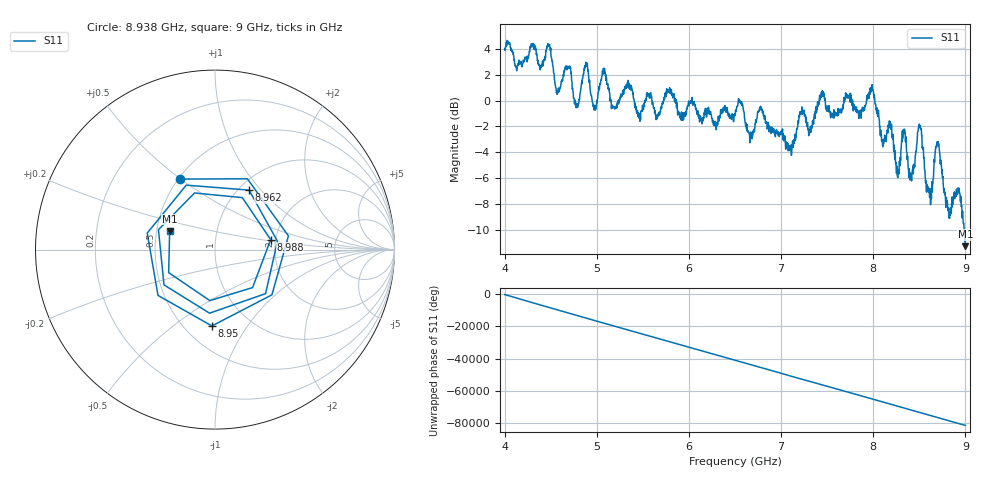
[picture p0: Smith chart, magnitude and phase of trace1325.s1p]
! Created with skrf 1.8.0 (http://scikit-rf.org).
# Hz S RI R 50.0
!freq ReS11 ImS11
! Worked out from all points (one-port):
!   1601 points, 4 GHz to 9 GHz, reference 50 ohm
!   lowest |S11| = -11.3 dB at 9 GHz (marker M1), VSWR 1.75, Z = 29.3 + j6.56 ohm
!   |S11| at or under -10 dB: 8.987595 GHz to end of sweep
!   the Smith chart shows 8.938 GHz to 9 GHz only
!   S11 on the Smith chart (normalised r, x): 8.938 GHz: 0.51, +0.50; 8.95 GHz: 0.67, -0.70; 8.962 GHz: 1.11, +0.87; 8.988 GHz: 1.88, +0.23; 9 GHz: 0.59, +0.13
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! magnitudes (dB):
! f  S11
! 4 GHz  4.0
! 4.475 GHz  4.2
! 4.569 GHz  0.5
! 4.625 GHz  1.6
! 4.784 GHz  -0.2
! 4.884 GHz  2.9
! 5.25 GHz  0.2
! 5.875 GHz  -0.6
! 6.5 GHz  -1.0
! 7.125 GHz  -3.1
! 7.441 GHz  0.3
! 7.75 GHz  -0.1
! 7.991 GHz  0.8
! 8.097 GHz  -3.2
! 8.188 GHz  -2.1
! 8.266 GHz  -6.0
! 8.334 GHz  -2.2
! 8.375 GHz  -4.5
! 8.425 GHz  -5.4
! 8.503 GHz  -2.0
! 8.6 GHz  -7.1
! 8.697 GHz  -3.2
! 8.812 GHz  -8.5
! 8.938 GHz  -7.2
! 8.95 GHz  -7.4
! 8.962 GHz  -8.4
! 8.988 GHz  -10.0
! 9 GHz  -11.3
